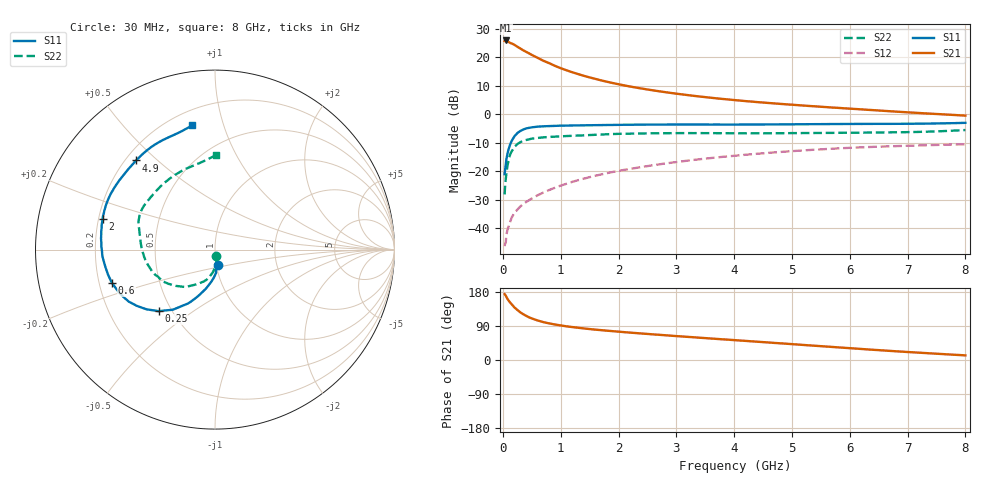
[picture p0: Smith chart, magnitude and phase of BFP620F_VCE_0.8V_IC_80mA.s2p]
! Infineon Technologies  Discrete & RF Semiconductors
! BFP620F
! VCE =  0.8 V,  IC =  80 mA
! Common Emitter S-Parameters:  Dec 2014
# GHz  S  MA  R  50
!  f  S11  S21  S12  S22
! GHz  MAG  ANG  MAG  ANG  MAG  ANG  MAG  ANG
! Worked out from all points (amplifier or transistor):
!   95 points, 30 MHz to 8 GHz, reference 50 ohm
!   highest |S21| = 25.9 dB at 50 MHz (marker M1)
!   |S21| within 3 dB of that: start of sweep to 315 MHz
!   unconditionally stable (mu >= 1): start of sweep to end of sweep
!   at 300 MHz: K = 1.20, MAG = 25.1 dB, |S12| = -32.5 dB
!   at 3.3 GHz: K = 1.14, MAG = 9.0 dB, |S12| = -16.1 dB
!   at 8 GHz: K = 1.15, MAG = 2.7 dB, |S12| = -10.6 dB
!   S11 on the Smith chart (normalised r, x): 30 MHz: 1.02, -0.18; 250 MHz: 0.42, -0.37; 600 MHz: 0.25, -0.15; 2 GHz: 0.22, +0.13; 4.9 GHz: 0.24, +0.43; 8 GHz: 0.29, +0.79
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0.03  0.0882 -79.0  19.36 173.8  0.0048 44.7  0.0389 -77.8
0.04  0.1082 -87.0  19.08 171.8  0.0054 57.6  0.0572 -80.1
0.05  0.1304 -87.4  19.74 169.7  0.0055 67.0  0.0726 -84.7
0.08  0.2022 -100.2  19.23 161.2  0.0094 63.5  0.1241 -94.7
0.13  0.3007 -112.9  17.8 150.9  0.0133 62.5  0.1999 -113.1
0.2  0.4087 -125.0  16.55 138.7  0.0185 61.4  0.2662 -128.4
0.25  0.465 -132.5  15.31 132.2  0.021 61.2  0.298 -137.3
0.35  0.5364 -144.2  13.28 121.0  0.0264 60.7  0.3415 -148.9
0.4  0.5611 -148.9  12.49 116.8  0.0285 61.5  0.3517 -154.7
0.5  0.587 -156.4  11 109.7  0.033 61.2  0.3714 -161.3
0.6  0.604 -162.2  9.788 104.3  0.0376 62.4  0.3825 -166.8
0.7  0.6122 -166.9  8.683 100.0  0.042 62.9  0.3918 -171.1
0.9  0.6229 -173.9  7.071 93.7  0.051 63.7  0.4032 -178.1
1.1  0.6298 -179.3  5.907 88.9  0.0599 63.8  0.413 176.3
1.4  0.638 174.4  4.728 83.3  0.0737 63.3  0.425 169.7
2  0.6491 164.7  3.361 74.8  0.1011 60.7  0.4514 160.8
2.7  0.6575 155.8  2.529 66.5  0.1312 56.2  0.4624 154.7
4.1  0.6578 139.6  1.735 51.4  0.1899 45.6  0.4622 141.5
4.9  0.6629 131.5  1.491 43.0  0.2206 38.8  0.4641 131.7
5.4  0.6684 126.6  1.374 37.6  0.238 34.3  0.4675 125.5
6.7  0.6764 113.4  1.126 24.0  0.2727 22.6  0.4793 108.3
8  0.7047 100.5  0.943 12.2  0.2958 12.0  0.5272 89.2
